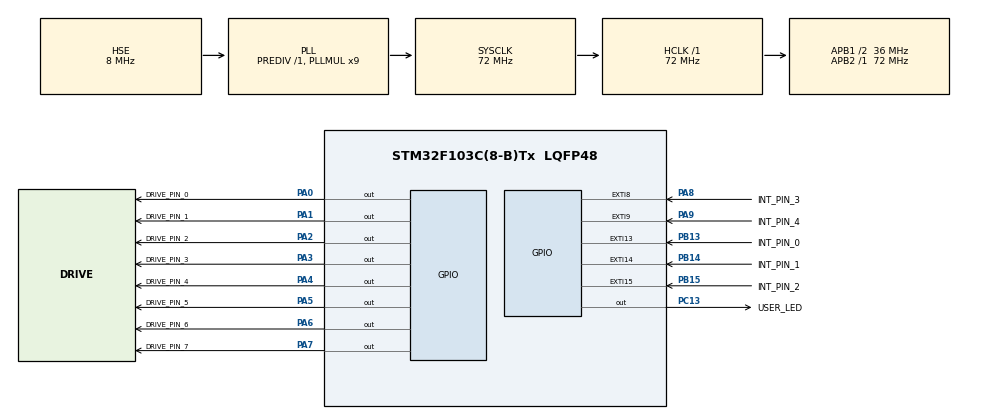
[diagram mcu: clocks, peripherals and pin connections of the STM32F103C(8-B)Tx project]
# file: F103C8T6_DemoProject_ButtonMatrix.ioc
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Mcu.Family=STM32F1
Mcu.Name=STM32F103C(8-B)Tx
Mcu.Package=LQFP48
NVIC.EXTI15_10_IRQn=true\:0\:0\:false\:false\:true\:true\:true\:true
NVIC.EXTI9_5_IRQn=true\:0\:0\:false\:false\:true\:true\:true\:true
NVIC.PriorityGroup=NVIC_PRIORITYGROUP_4
PA0-WKUP.GPIO_Label=DRIVE_PIN_0
PA0-WKUP.Signal=GPIO_Output
PA1.GPIO_Label=DRIVE_PIN_1
PA1.Signal=GPIO_Output
PA13.Mode=Serial_Wire
PA13.Signal=SYS_JTMS-SWDIO
PA14.Mode=Serial_Wire
PA14.Signal=SYS_JTCK-SWCLK
PA2.GPIO_Label=DRIVE_PIN_2
PA2.Signal=GPIO_Output
PA3.GPIO_Label=DRIVE_PIN_3
PA3.Signal=GPIO_Output
PA4.GPIO_Label=DRIVE_PIN_4
PA4.Signal=GPIO_Output
PA5.GPIO_Label=DRIVE_PIN_5
PA5.Signal=GPIO_Output
PA6.GPIO_Label=DRIVE_PIN_6
PA6.Signal=GPIO_Output
PA7.GPIO_Label=DRIVE_PIN_7
PA7.Signal=GPIO_Output
PA8.GPIO_Label=INT_PIN_3
PA8.GPIO_ModeDefaultEXTI=GPIO_MODE_IT_FALLING
PA8.GPIO_PuPd=GPIO_PULLUP
PA8.Signal=GPXTI8
PA9.GPIO_Label=INT_PIN_4
PA9.GPIO_ModeDefaultEXTI=GPIO_MODE_IT_FALLING
PA9.GPIO_PuPd=GPIO_PULLUP
PA9.Signal=GPXTI9
PB13.GPIO_Label=INT_PIN_0
PB13.GPIO_ModeDefaultEXTI=GPIO_MODE_IT_FALLING
PB13.GPIO_PuPd=GPIO_PULLUP
PB13.Signal=GPXTI13
PB14.GPIO_Label=INT_PIN_1
PB14.GPIO_ModeDefaultEXTI=GPIO_MODE_IT_FALLING
PB14.GPIO_PuPd=GPIO_PULLUP
PB14.Signal=GPXTI14
PB15.GPIO_Label=INT_PIN_2
PB15.GPIO_ModeDefaultEXTI=GPIO_MODE_IT_FALLING
PB15.GPIO_PuPd=GPIO_PULLUP
PB15.Signal=GPXTI15
PC13-TAMPER-RTC.GPIO_Label=USER_LED
PC13-TAMPER-RTC.Signal=GPIO_Output
PD0-OSC_IN.Mode=HSE-External-Oscillator
PD0-OSC_IN.Signal=RCC_OSC_IN
PD1-OSC_OUT.Mode=HSE-External-Oscillator
PD1-OSC_OUT.Signal=RCC_OSC_OUT
ProjectManager.HeapSize=0x200
ProjectManager.StackSize=0x400
ProjectManager.TargetToolchain=STM32CubeIDE
RCC.AHBFreq_Value=72000000
RCC.APB1CLKDivider=RCC_HCLK_DIV2
RCC.APB1Freq_Value=36000000
RCC.APB1TimFreq_Value=72000000
RCC.APB2Freq_Value=72000000
RCC.APB2TimFreq_Value=72000000
RCC.HCLKFreq_Value=72000000
RCC.PLLMUL=RCC_PLL_MUL9
RCC.PLLSourceVirtual=RCC_PLLSOURCE_HSE
RCC.SYSCLKFreq_VALUE=72000000
RCC.SYSCLKSource=RCC_SYSCLKSOURCE_PLLCLK
RCC.USBFreq_Value=72000000
board=custom

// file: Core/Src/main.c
/* USER CODE BEGIN Header */

/**
  ******************************************************************************
  * @file           : main.c
  * @brief          : Main program body
  ******************************************************************************
  * @attention
  *
  * Copyright (c) 2024 STMicroelectronics.
  * All rights reserved.
  *
  * This software is licensed under terms that can be found in the LICENSE file
  * in the root directory of this software component.
  * If no LICENSE file comes with this software, it is provided AS-IS.
  *
  ******************************************************************************
  */

/* USER CODE END Header */
#include "main.h"

/* USER CODE BEGIN Includes */

#include "buttonMatrix.h"
#include <stdbool.h>

/* USER CODE END Includes */

#define NUM_CHANNELS  8
#define NUM_INTERRUPT_LINES 5

void SystemClock_Config(void);
static void MX_GPIO_Init(void);

/* USER CODE BEGIN 0 */

bool ButtonsSoloPushed[NUM_CHANNELS] = {[0 ... 7] = false};
bool ButtonsMutePushed[NUM_CHANNELS] = {[0 ... 7] = false};
bool ButtonsSelectPushed[NUM_CHANNELS] = {[0 ... 7] = false};

buttonMatrix_structTd ButtonMatrix;

buttonMatrix_Coordinates_Td ButtonSolo[NUM_CHANNELS] = {
		{.PosIntLine = BUTTON_MATRIX_INT_0, .PosDrvLine = BUTTON_MATRIX_DRV_0},
		{.PosIntLine = BUTTON_MATRIX_INT_0, .PosDrvLine = BUTTON_MATRIX_DRV_1},
		{.PosIntLine = BUTTON_MATRIX_INT_0, .PosDrvLine = BUTTON_MATRIX_DRV_2},
		{.PosIntLine = BUTTON_MATRIX_INT_0, .PosDrvLine = BUTTON_MATRIX_DRV_3},
		{.PosIntLine = BUTTON_MATRIX_INT_0, .PosDrvLine = BUTTON_MATRIX_DRV_4},
		{.PosIntLine = BUTTON_MATRIX_INT_0, .PosDrvLine = BUTTON_MATRIX_DRV_5},
		{.PosIntLine = BUTTON_MATRIX_INT_0, .PosDrvLine = BUTTON_MATRIX_DRV_6},
		{.PosIntLine = BUTTON_MATRIX_INT_0, .PosDrvLine = BUTTON_MATRIX_DRV_7}
};

buttonMatrix_Coordinates_Td ButtonMute[NUM_CHANNELS] = {
		{.PosIntLine = BUTTON_MATRIX_INT_1, .PosDrvLine = BUTTON_MATRIX_DRV_0},
		{.PosIntLine = BUTTON_MATRIX_INT_1, .PosDrvLine = BUTTON_MATRIX_DRV_1},
		{.PosIntLine = BUTTON_MATRIX_INT_1, .PosDrvLine = BUTTON_MATRIX_DRV_2},
		{.PosIntLine = BUTTON_MATRIX_INT_1, .PosDrvLine = BUTTON_MATRIX_DRV_3},
		{.PosIntLine = BUTTON_MATRIX_INT_1, .PosDrvLine = BUTTON_MATRIX_DRV_4},
		{.PosIntLine = BUTTON_MATRIX_INT_1, .PosDrvLine = BUTTON_MATRIX_DRV_5},
		{.PosIntLine = BUTTON_MATRIX_INT_1, .PosDrvLine = BUTTON_MATRIX_DRV_6},
		{.PosIntLine = BUTTON_MATRIX_INT_1, .PosDrvLine = BUTTON_MATRIX_DRV_7}
};

buttonMatrix_Coordinates_Td ButtonSelect[NUM_CHANNELS] = {
		{.PosIntLine = BUTTON_MATRIX_INT_2, .PosDrvLine = BUTTON_MATRIX_DRV_0},
		{.PosIntLine = BUTTON_MATRIX_INT_2, .PosDrvLine = BUTTON_MATRIX_DRV_1},
		{.PosIntLine = BUTTON_MATRIX_INT_2, .PosDrvLine = BUTTON_MATRIX_DRV_2},
		{.PosIntLine = BUTTON_MATRIX_INT_2, .PosDrvLine = BUTTON_MATRIX_DRV_3},
		{.PosIntLine = BUTTON_MATRIX_INT_2, .PosDrvLine = BUTTON_MATRIX_DRV_4},
		{.PosIntLine = BUTTON_MATRIX_INT_2, .PosDrvLine = BUTTON_MATRIX_DRV_5},
		{.PosIntLine = BUTTON_MATRIX_INT_2, .PosDrvLine = BUTTON_MATRIX_DRV_6},
		{.PosIntLine = BUTTON_MATRIX_INT_2, .PosDrvLine = BUTTON_MATRIX_DRV_7}
};

/* USER CODE END 0 */

int main(void)
{

  /* MCU Configuration--------------------------------------------------------*/

  /* Reset of all peripherals, Initializes the Flash interface and the Systick. */
  HAL_Init();

  /* Configure the system clock */
  SystemClock_Config();

  /* Initialize all configured peripherals */
  MX_GPIO_Init();
  /* USER CODE BEGIN 2 */

  ButtonMatrix_init_Structure(&ButtonMatrix);

  ButtonMatrix_init_InterruptLinePin(&ButtonMatrix, GPIOB, GPIO_PIN_13);
  ButtonMatrix_init_InterruptLinePin(&ButtonMatrix, GPIOB, GPIO_PIN_14);
  ButtonMatrix_init_InterruptLinePin(&ButtonMatrix, GPIOB, GPIO_PIN_15);

  ButtonMatrix_init_DriveLinePin(&ButtonMatrix, GPIOA, GPIO_PIN_0);
  ButtonMatrix_init_DriveLinePin(&ButtonMatrix, GPIOA, GPIO_PIN_1);
  ButtonMatrix_init_DriveLinePin(&ButtonMatrix, GPIOA, GPIO_PIN_2);
  ButtonMatrix_init_DriveLinePin(&ButtonMatrix, GPIOA, GPIO_PIN_3);
  ButtonMatrix_init_DriveLinePin(&ButtonMatrix, GPIOA, GPIO_PIN_4);
  ButtonMatrix_init_DriveLinePin(&ButtonMatrix, GPIOA, GPIO_PIN_5);
  ButtonMatrix_init_DriveLinePin(&ButtonMatrix, GPIOA, GPIO_PIN_6);
  ButtonMatrix_init_DriveLinePin(&ButtonMatrix, GPIOA, GPIO_PIN_7);

  ButtonMatrix_init_TimerThresholdInMs(&ButtonMatrix, 1);

  ButtonMatrix_start(&ButtonMatrix);

  /* USER CODE END 2 */

  /* Infinite loop */
  /* USER CODE BEGIN WHILE */
  while (1)
  {
		ButtonMatrix_update(&ButtonMatrix);
		for(uint8_t i = 0; i < NUM_INTERRUPT_LINES; i++)
		{
			if(ButtonMatrix_check_ButtonPushed(&ButtonMatrix, &ButtonSolo[i]) == true)
			{
			  ButtonsSoloPushed[i] = true;
				/* add user code here */
			}
			else
			{
				ButtonsSoloPushed[i] = false;
				/* add user code here */
			}
			if(ButtonMatrix_check_ButtonPushed(&ButtonMatrix, &ButtonMute[i]) == true)
			{
			  ButtonsMutePushed[i] = true;
			  /* add user code here */
			}
			else
			{
				ButtonsMutePushed[i] = false;
				/* add user code here */
			}
			if(ButtonMatrix_check_ButtonPushed(&ButtonMatrix, &ButtonSelect[i]) == true)
			{
			  ButtonsSelectPushed[i] = true;
			  /* add user code here */
			}
			else
			{
				ButtonsSelectPushed[i] = false;
				/* add user code here */
			}
    }
    /* USER CODE END WHILE */

  }
}

void SystemClock_Config(void)
{
  RCC_OscInitTypeDef RCC_OscInitStruct = {0};
  RCC_ClkInitTypeDef RCC_ClkInitStruct = {0};

  /** Initializes the RCC Oscillators according to the specified parameters
  * in the RCC_OscInitTypeDef structure.
  */
  RCC_OscInitStruct.OscillatorType = RCC_OSCILLATORTYPE_HSE;
  RCC_OscInitStruct.HSEState = RCC_HSE_ON;
  RCC_OscInitStruct.HSEPredivValue = RCC_HSE_PREDIV_DIV1;
  RCC_OscInitStruct.HSIState = RCC_HSI_ON;
  RCC_OscInitStruct.PLL.PLLState = RCC_PLL_ON;
  RCC_OscInitStruct.PLL.PLLSource = RCC_PLLSOURCE_HSE;
  RCC_OscInitStruct.PLL.PLLMUL = RCC_PLL_MUL9;
  if (HAL_RCC_OscConfig(&RCC_OscInitStruct) != HAL_OK)
  {
    Error_Handler();
  }

  /** Initializes the CPU, AHB and APB buses clocks
  */
  RCC_ClkInitStruct.ClockType = RCC_CLOCKTYPE_HCLK|RCC_CLOCKTYPE_SYSCLK
                              |RCC_CLOCKTYPE_PCLK1|RCC_CLOCKTYPE_PCLK2;
  RCC_ClkInitStruct.SYSCLKSource = RCC_SYSCLKSOURCE_PLLCLK;
  RCC_ClkInitStruct.AHBCLKDivider = RCC_SYSCLK_DIV1;
  RCC_ClkInitStruct.APB1CLKDivider = RCC_HCLK_DIV2;
  RCC_ClkInitStruct.APB2CLKDivider = RCC_HCLK_DIV1;

  if (HAL_RCC_ClockConfig(&RCC_ClkInitStruct, FLASH_LATENCY_2) != HAL_OK)
  {
    Error_Handler();
  }
}

static void MX_GPIO_Init(void)
{
  GPIO_InitTypeDef GPIO_InitStruct = {0};

  /* GPIO Ports Clock Enable */
  __HAL_RCC_GPIOC_CLK_ENABLE();
  __HAL_RCC_GPIOD_CLK_ENABLE();
  __HAL_RCC_GPIOA_CLK_ENABLE();
  __HAL_RCC_GPIOB_CLK_ENABLE();

  /*Configure GPIO pin Output Level */
  HAL_GPIO_WritePin(USER_LED_GPIO_Port, USER_LED_Pin, GPIO_PIN_RESET);

  /*Configure GPIO pin Output Level */
  HAL_GPIO_WritePin(GPIOA, DRIVE_PIN_0_Pin|DRIVE_PIN_1_Pin|DRIVE_PIN_2_Pin|DRIVE_PIN_3_Pin
                          |DRIVE_PIN_4_Pin|DRIVE_PIN_5_Pin|DRIVE_PIN_6_Pin|DRIVE_PIN_7_Pin, GPIO_PIN_RESET);

  /*Configure GPIO pin : USER_LED_Pin */
  GPIO_InitStruct.Pin = USER_LED_Pin;
  GPIO_InitStruct.Mode = GPIO_MODE_OUTPUT_PP;
  GPIO_InitStruct.Pull = GPIO_NOPULL;
  GPIO_InitStruct.Speed = GPIO_SPEED_FREQ_LOW;
  HAL_GPIO_Init(USER_LED_GPIO_Port, &GPIO_InitStruct);

  /*Configure GPIO pins : DRIVE_PIN_0_Pin DRIVE_PIN_1_Pin DRIVE_PIN_2_Pin DRIVE_PIN_3_Pin
                           DRIVE_PIN_4_Pin DRIVE_PIN_5_Pin DRIVE_PIN_6_Pin DRIVE_PIN_7_Pin */
  GPIO_InitStruct.Pin = DRIVE_PIN_0_Pin|DRIVE_PIN_1_Pin|DRIVE_PIN_2_Pin|DRIVE_PIN_3_Pin
                          |DRIVE_PIN_4_Pin|DRIVE_PIN_5_Pin|DRIVE_PIN_6_Pin|DRIVE_PIN_7_Pin;
  GPIO_InitStruct.Mode = GPIO_MODE_OUTPUT_PP;
  GPIO_InitStruct.Pull = GPIO_NOPULL;
  GPIO_InitStruct.Speed = GPIO_SPEED_FREQ_LOW;
  HAL_GPIO_Init(GPIOA, &GPIO_InitStruct);

  /*Configure GPIO pins : INT_PIN_0_Pin INT_PIN_1_Pin INT_PIN_2_Pin */
  GPIO_InitStruct.Pin = INT_PIN_0_Pin|INT_PIN_1_Pin|INT_PIN_2_Pin;
  GPIO_InitStruct.Mode = GPIO_MODE_IT_FALLING;
  GPIO_InitStruct.Pull = GPIO_PULLUP;
  HAL_GPIO_Init(GPIOB, &GPIO_InitStruct);

  /*Configure GPIO pins : INT_PIN_3_Pin INT_PIN_4_Pin */
  GPIO_InitStruct.Pin = INT_PIN_3_Pin|INT_PIN_4_Pin;
  GPIO_InitStruct.Mode = GPIO_MODE_IT_FALLING;
  GPIO_InitStruct.Pull = GPIO_PULLUP;
  HAL_GPIO_Init(GPIOA, &GPIO_InitStruct);

  /* EXTI interrupt init*/
  HAL_NVIC_SetPriority(EXTI9_5_IRQn, 0, 0);
  HAL_NVIC_EnableIRQ(EXTI9_5_IRQn);

  HAL_NVIC_SetPriority(EXTI15_10_IRQn, 0, 0);
  HAL_NVIC_EnableIRQ(EXTI15_10_IRQn);

}

/* USER CODE BEGIN 4 */

void HAL_GPIO_EXTI_Callback(uint16_t GPIO_Pin)
{
	ButtonMatrix_manage_Interrupt(&ButtonMatrix, GPIO_Pin);
}
/* USER CODE END 4 */

void Error_Handler(void)
{
  __disable_irq();
  while (1)
  {
  }
}
